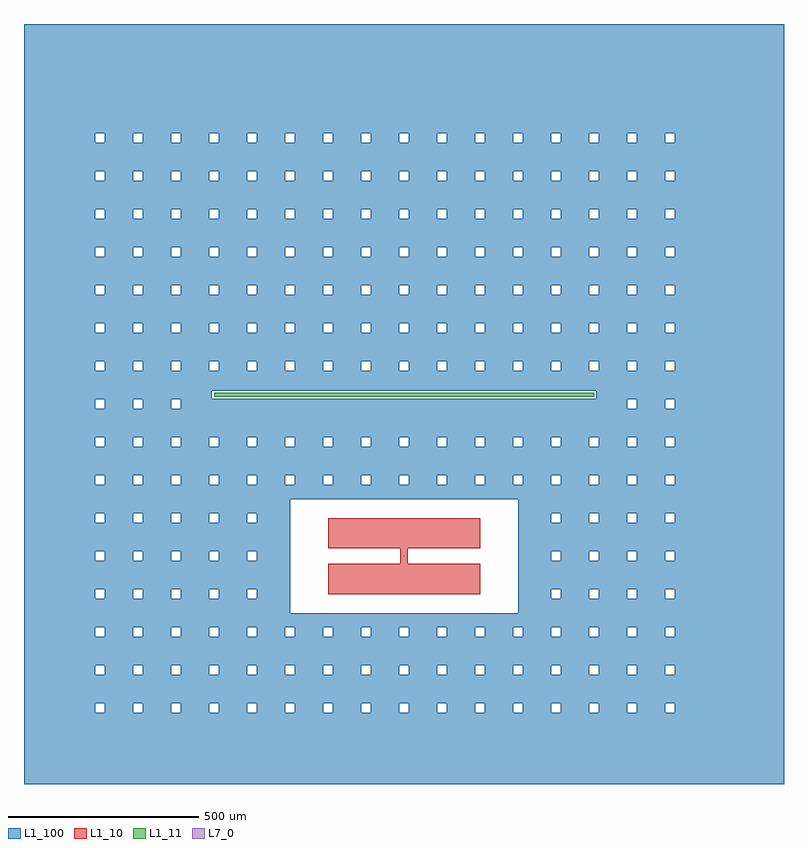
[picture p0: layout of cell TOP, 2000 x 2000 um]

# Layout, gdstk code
from math import pi, radians
import gdstk
lib = gdstk.Library(unit=1e-6, precision=1e-09)
def R(c, l, rs):  # rectangles x0, y0, x1, y1
    for r in rs: c.add(gdstk.rectangle(r[:2], r[2:], *l))
def P(c, l, *ps):  # polygons
    for p in ps: c.add(gdstk.Polygon(p, *l))
L1_10 = (1, 10)
L1_11 = (1, 11)
L1_100 = (1, 100)
L7_0 = (7, 0)

oq_jj = lib.new_cell('OQ_JJ')
P(oq_jj, L7_0, [(-2,-1),(2,-1),(2,1),(1,1),(1,0),(-2,0)])

pads_oq_jj_qcomponent_is = lib.new_cell('pads_OQ_JJ_QComponent_is_1_name_is_rect_jj')
R(pads_oq_jj_qcomponent_is, L1_10, [(-20,-10,3,10), (-3,-10,20,10)])

top_main_1_cheese_100 = lib.new_cell('TOP_main_1_Cheese_100')
R(top_main_1_cheese_100, L1_100, [(-1000,-1000,-875,1000), (750,-1000,875,1000), (875,-1000,1000,1000)])
P(top_main_1_cheese_100, L1_100, [(-750,1000),(-875,1000),(-875,687.5),(-812.5,687.5),(-812.5,712.5),(-787.5,712.5),(-787.5,687.5),(-812.5,687.5),(-875,687.5),(-875,587.5),(-812.5,587.5),(-812.5,612.5),(-787.5,612.5),(-787.5,587.5),(-812.5,587.5),(-875,587.5),(-875,487.5),(-812.5,487.5),(-812.5,512.5),(-787.5,512.5),(-787.5,487.5),(-812.5,487.5),(-875,487.5),(-875,387.5),(-812.5,387.5),(-812.5,412.5),(-787.5,412.5),(-787.5,387.5),(-812.5,387.5),(-875,387.5),(-875,287.5),(-812.5,287.5),(-812.5,312.5),(-787.5,312.5),(-787.5,287.5),(-812.5,287.5),(-875,287.5),(-875,187.5),(-812.5,187.5),(-812.5,212.5),(-787.5,212.5),(-787.5,187.5),(-812.5,187.5),(-875,187.5),(-875,87.5),(-812.5,87.5),(-812.5,112.5),(-787.5,112.5),(-787.5,87.5),(-812.5,87.5),(-875,87.5),(-875,-12.5),(-812.5,-12.5),(-812.5,12.5),(-787.5,12.5),(-787.5,-12.5),(-812.5,-12.5),(-875,-12.5),(-875,-112.5),(-812.5,-112.5),(-812.5,-87.5),(-787.5,-87.5),(-787.5,-112.5),(-812.5,-112.5),(-875,-112.5),(-875,-212.5),(-812.5,-212.5),(-812.5,-187.5),(-787.5,-187.5),(-787.5,-212.5),(-812.5,-212.5),(-875,-212.5),(-875,-312.5),(-812.5,-312.5),(-812.5,-287.5),(-787.5,-287.5),(-787.5,-312.5),(-812.5,-312.5),(-875,-312.5),(-875,-412.5),(-812.5,-412.5),(-812.5,-387.5),(-787.5,-387.5),(-787.5,-412.5),(-812.5,-412.5),(-875,-412.5),(-875,-512.5),(-812.5,-512.5),(-812.5,-487.5),(-787.5,-487.5),(-787.5,-512.5),(-812.5,-512.5),(-875,-512.5),(-875,-612.5),(-812.5,-612.5),(-812.5,-587.5),(-787.5,-587.5),(-787.5,-612.5),(-812.5,-612.5),(-875,-612.5),(-875,-712.5),(-812.5,-712.5),(-812.5,-687.5),(-787.5,-687.5),(-787.5,-712.5),(-812.5,-712.5),(-875,-712.5),(-875,-812.5),(-812.5,-812.5),(-812.5,-787.5),(-787.5,-787.5),(-787.5,-812.5),(-812.5,-812.5),(-875,-812.5),(-875,-1000),(-750,-1000)],
  [(-625,1000),(-750,1000),(-750,687.5),(-712.5,687.5),(-712.5,712.5),(-687.5,712.5),(-687.5,687.5),(-712.5,687.5),(-750,687.5),(-750,587.5),(-712.5,587.5),(-712.5,612.5),(-687.5,612.5),(-687.5,587.5),(-712.5,587.5),(-750,587.5),(-750,487.5),(-712.5,487.5),(-712.5,512.5),(-687.5,512.5),(-687.5,487.5),(-712.5,487.5),(-750,487.5),(-750,387.5),(-712.5,387.5),(-712.5,412.5),(-687.5,412.5),(-687.5,387.5),(-712.5,387.5),(-750,387.5),(-750,287.5),(-712.5,287.5),(-712.5,312.5),(-687.5,312.5),(-687.5,287.5),(-712.5,287.5),(-750,287.5),(-750,187.5),(-712.5,187.5),(-712.5,212.5),(-687.5,212.5),(-687.5,187.5),(-712.5,187.5),(-750,187.5),(-750,87.5),(-712.5,87.5),(-712.5,112.5),(-687.5,112.5),(-687.5,87.5),(-712.5,87.5),(-750,87.5),(-750,-12.5),(-712.5,-12.5),(-712.5,12.5),(-687.5,12.5),(-687.5,-12.5),(-712.5,-12.5),(-750,-12.5),(-750,-112.5),(-712.5,-112.5),(-712.5,-87.5),(-687.5,-87.5),(-687.5,-112.5),(-712.5,-112.5),(-750,-112.5),(-750,-212.5),(-712.5,-212.5),(-712.5,-187.5),(-687.5,-187.5),(-687.5,-212.5),(-712.5,-212.5),(-750,-212.5),(-750,-312.5),(-712.5,-312.5),(-712.5,-287.5),(-687.5,-287.5),(-687.5,-312.5),(-712.5,-312.5),(-750,-312.5),(-750,-412.5),(-712.5,-412.5),(-712.5,-387.5),(-687.5,-387.5),(-687.5,-412.5),(-712.5,-412.5),(-750,-412.5),(-750,-512.5),(-712.5,-512.5),(-712.5,-487.5),(-687.5,-487.5),(-687.5,-512.5),(-712.5,-512.5),(-750,-512.5),(-750,-612.5),(-712.5,-612.5),(-712.5,-587.5),(-687.5,-587.5),(-687.5,-612.5),(-712.5,-612.5),(-750,-612.5),(-750,-712.5),(-712.5,-712.5),(-712.5,-687.5),(-687.5,-687.5),(-687.5,-712.5),(-712.5,-712.5),(-750,-712.5),(-750,-812.5),(-712.5,-812.5),(-712.5,-787.5),(-687.5,-787.5),(-687.5,-812.5),(-712.5,-812.5),(-750,-812.5),(-750,-1000),(-625,-1000)],
  [(-500,-812.5),(-512.5,-812.5),(-512.5,-787.5),(-500,-787.5),(-500,-712.5),(-512.5,-712.5),(-512.5,-687.5),(-500,-687.5),(-500,-612.5),(-512.5,-612.5),(-512.5,-587.5),(-500,-587.5),(-500,-512.5),(-512.5,-512.5),(-512.5,-487.5),(-500,-487.5),(-500,-412.5),(-512.5,-412.5),(-512.5,-387.5),(-500,-387.5),(-500,-312.5),(-512.5,-312.5),(-512.5,-287.5),(-500,-287.5),(-500,-212.5),(-512.5,-212.5),(-512.5,-187.5),(-500,-187.5),(-500,-112.5),(-512.5,-112.5),(-512.5,-87.5),(-500,-87.5),(-500,13.5),(-506,13.5),(-506,35.5),(-500,35.5),(-500,87.5),(-512.5,87.5),(-512.5,112.5),(-500,112.5),(-500,187.5),(-512.5,187.5),(-512.5,212.5),(-500,212.5),(-500,287.5),(-512.5,287.5),(-512.5,312.5),(-500,312.5),(-500,387.5),(-512.5,387.5),(-512.5,412.5),(-500,412.5),(-500,487.5),(-512.5,487.5),(-512.5,512.5),(-500,512.5),(-500,587.5),(-512.5,587.5),(-512.5,612.5),(-500,612.5),(-500,687.5),(-512.5,687.5),(-512.5,712.5),(-500,712.5),(-500,1000),(-625,1000),(-625,687.5),(-612.5,687.5),(-612.5,712.5),(-587.5,712.5),(-587.5,687.5),(-612.5,687.5),(-625,687.5),(-625,587.5),(-612.5,587.5),(-612.5,612.5),(-587.5,612.5),(-587.5,587.5),(-612.5,587.5),(-625,587.5),(-625,487.5),(-612.5,487.5),(-612.5,512.5),(-587.5,512.5),(-587.5,487.5),(-612.5,487.5),(-625,487.5),(-625,387.5),(-612.5,387.5),(-612.5,412.5),(-587.5,412.5),(-587.5,387.5),(-612.5,387.5),(-625,387.5),(-625,287.5),(-612.5,287.5),(-612.5,312.5),(-587.5,312.5),(-587.5,287.5),(-612.5,287.5),(-625,287.5),(-625,187.5),(-612.5,187.5),(-612.5,212.5),(-587.5,212.5),(-587.5,187.5),(-612.5,187.5),(-625,187.5),(-625,87.5),(-612.5,87.5),(-612.5,112.5),(-587.5,112.5),(-587.5,87.5),(-612.5,87.5),(-625,87.5),(-625,-12.5),(-612.5,-12.5),(-612.5,12.5),(-587.5,12.5),(-587.5,-12.5),(-612.5,-12.5),(-625,-12.5),(-625,-112.5),(-612.5,-112.5),(-612.5,-87.5),(-587.5,-87.5),(-587.5,-112.5),(-612.5,-112.5),(-625,-112.5),(-625,-212.5),(-612.5,-212.5),(-612.5,-187.5),(-587.5,-187.5),(-587.5,-212.5),(-612.5,-212.5),(-625,-212.5),(-625,-312.5),(-612.5,-312.5),(-612.5,-287.5),(-587.5,-287.5),(-587.5,-312.5),(-612.5,-312.5),(-625,-312.5),(-625,-412.5),(-612.5,-412.5),(-612.5,-387.5),(-587.5,-387.5),(-587.5,-412.5),(-612.5,-412.5),(-625,-412.5),(-625,-512.5),(-612.5,-512.5),(-612.5,-487.5),(-587.5,-487.5),(-587.5,-512.5),(-612.5,-512.5),(-625,-512.5),(-625,-612.5),(-612.5,-612.5),(-612.5,-587.5),(-587.5,-587.5),(-587.5,-612.5),(-612.5,-612.5),(-625,-612.5),(-625,-712.5),(-612.5,-712.5),(-612.5,-687.5),(-587.5,-687.5),(-587.5,-712.5),(-612.5,-712.5),(-625,-712.5),(-625,-812.5),(-612.5,-812.5),(-612.5,-787.5),(-587.5,-787.5),(-587.5,-812.5),(-612.5,-812.5),(-625,-812.5),(-625,-1000),(-500,-1000)],
  [(-375,1000),(-500,1000),(-500,712.5),(-487.5,712.5),(-487.5,687.5),(-412.5,687.5),(-412.5,712.5),(-387.5,712.5),(-387.5,687.5),(-412.5,687.5),(-487.5,687.5),(-500,687.5),(-500,612.5),(-487.5,612.5),(-487.5,587.5),(-412.5,587.5),(-412.5,612.5),(-387.5,612.5),(-387.5,587.5),(-412.5,587.5),(-487.5,587.5),(-500,587.5),(-500,512.5),(-487.5,512.5),(-487.5,487.5),(-412.5,487.5),(-412.5,512.5),(-387.5,512.5),(-387.5,487.5),(-412.5,487.5),(-487.5,487.5),(-500,487.5),(-500,412.5),(-487.5,412.5),(-487.5,387.5),(-412.5,387.5),(-412.5,412.5),(-387.5,412.5),(-387.5,387.5),(-412.5,387.5),(-487.5,387.5),(-500,387.5),(-500,312.5),(-487.5,312.5),(-487.5,287.5),(-412.5,287.5),(-412.5,312.5),(-387.5,312.5),(-387.5,287.5),(-412.5,287.5),(-487.5,287.5),(-500,287.5),(-500,212.5),(-487.5,212.5),(-487.5,187.5),(-412.5,187.5),(-412.5,212.5),(-387.5,212.5),(-387.5,187.5),(-412.5,187.5),(-487.5,187.5),(-500,187.5),(-500,112.5),(-487.5,112.5),(-487.5,87.5),(-412.5,87.5),(-412.5,112.5),(-387.5,112.5),(-387.5,87.5),(-412.5,87.5),(-487.5,87.5),(-500,87.5),(-500,35.5),(-375,35.5)],
  [(-375,13.5),(-500,13.5),(-500,-87.5),(-487.5,-87.5),(-487.5,-112.5),(-412.5,-112.5),(-412.5,-87.5),(-387.5,-87.5),(-387.5,-112.5),(-412.5,-112.5),(-487.5,-112.5),(-500,-112.5),(-500,-187.5),(-487.5,-187.5),(-487.5,-212.5),(-412.5,-212.5),(-412.5,-187.5),(-387.5,-187.5),(-387.5,-212.5),(-412.5,-212.5),(-487.5,-212.5),(-500,-212.5),(-500,-287.5),(-487.5,-287.5),(-487.5,-312.5),(-412.5,-312.5),(-412.5,-287.5),(-387.5,-287.5),(-387.5,-312.5),(-412.5,-312.5),(-487.5,-312.5),(-500,-312.5),(-500,-387.5),(-487.5,-387.5),(-487.5,-412.5),(-412.5,-412.5),(-412.5,-387.5),(-387.5,-387.5),(-387.5,-412.5),(-412.5,-412.5),(-487.5,-412.5),(-500,-412.5),(-500,-487.5),(-487.5,-487.5),(-487.5,-512.5),(-412.5,-512.5),(-412.5,-487.5),(-387.5,-487.5),(-387.5,-512.5),(-412.5,-512.5),(-487.5,-512.5),(-500,-512.5),(-500,-587.5),(-487.5,-587.5),(-487.5,-612.5),(-412.5,-612.5),(-412.5,-587.5),(-387.5,-587.5),(-387.5,-612.5),(-412.5,-612.5),(-487.5,-612.5),(-500,-612.5),(-500,-687.5),(-487.5,-687.5),(-487.5,-712.5),(-412.5,-712.5),(-412.5,-687.5),(-387.5,-687.5),(-387.5,-712.5),(-412.5,-712.5),(-487.5,-712.5),(-500,-712.5),(-500,-787.5),(-487.5,-787.5),(-487.5,-812.5),(-412.5,-812.5),(-412.5,-787.5),(-387.5,-787.5),(-387.5,-812.5),(-412.5,-812.5),(-487.5,-812.5),(-500,-812.5),(-500,-1000),(-375,-1000)],
  [(-250,1000),(-375,1000),(-375,687.5),(-312.5,687.5),(-312.5,712.5),(-287.5,712.5),(-287.5,687.5),(-312.5,687.5),(-375,687.5),(-375,587.5),(-312.5,587.5),(-312.5,612.5),(-287.5,612.5),(-287.5,587.5),(-312.5,587.5),(-375,587.5),(-375,487.5),(-312.5,487.5),(-312.5,512.5),(-287.5,512.5),(-287.5,487.5),(-312.5,487.5),(-375,487.5),(-375,387.5),(-312.5,387.5),(-312.5,412.5),(-287.5,412.5),(-287.5,387.5),(-312.5,387.5),(-375,387.5),(-375,287.5),(-312.5,287.5),(-312.5,312.5),(-287.5,312.5),(-287.5,287.5),(-312.5,287.5),(-375,287.5),(-375,187.5),(-312.5,187.5),(-312.5,212.5),(-287.5,212.5),(-287.5,187.5),(-312.5,187.5),(-375,187.5),(-375,87.5),(-312.5,87.5),(-312.5,112.5),(-287.5,112.5),(-287.5,87.5),(-312.5,87.5),(-375,87.5),(-375,35.5),(-250,35.5)],
  [(-250,-550),(-300,-550),(-300,-250),(-250,-250),(-250,13.5),(-375,13.5),(-375,-112.5),(-312.5,-112.5),(-312.5,-87.5),(-287.5,-87.5),(-287.5,-112.5),(-312.5,-112.5),(-375,-112.5),(-375,-212.5),(-312.5,-212.5),(-312.5,-187.5),(-287.5,-187.5),(-287.5,-212.5),(-312.5,-212.5),(-375,-212.5),(-375,-612.5),(-312.5,-612.5),(-312.5,-587.5),(-287.5,-587.5),(-287.5,-612.5),(-312.5,-612.5),(-375,-612.5),(-375,-712.5),(-312.5,-712.5),(-312.5,-687.5),(-287.5,-687.5),(-287.5,-712.5),(-312.5,-712.5),(-375,-712.5),(-375,-812.5),(-312.5,-812.5),(-312.5,-787.5),(-287.5,-787.5),(-287.5,-812.5),(-312.5,-812.5),(-375,-812.5),(-375,-1000),(-250,-1000)],
  [(-125,1000),(-250,1000),(-250,687.5),(-212.5,687.5),(-212.5,712.5),(-187.5,712.5),(-187.5,687.5),(-212.5,687.5),(-250,687.5),(-250,587.5),(-212.5,587.5),(-212.5,612.5),(-187.5,612.5),(-187.5,587.5),(-212.5,587.5),(-250,587.5),(-250,487.5),(-212.5,487.5),(-212.5,512.5),(-187.5,512.5),(-187.5,487.5),(-212.5,487.5),(-250,487.5),(-250,387.5),(-212.5,387.5),(-212.5,412.5),(-187.5,412.5),(-187.5,387.5),(-212.5,387.5),(-250,387.5),(-250,287.5),(-212.5,287.5),(-212.5,312.5),(-187.5,312.5),(-187.5,287.5),(-212.5,287.5),(-250,287.5),(-250,187.5),(-212.5,187.5),(-212.5,212.5),(-187.5,212.5),(-187.5,187.5),(-212.5,187.5),(-250,187.5),(-250,87.5),(-212.5,87.5),(-212.5,112.5),(-187.5,112.5),(-187.5,87.5),(-212.5,87.5),(-250,87.5),(-250,35.5),(-125,35.5)],
  [(-125,13.5),(-250,13.5),(-250,-112.5),(-212.5,-112.5),(-212.5,-87.5),(-187.5,-87.5),(-187.5,-112.5),(-212.5,-112.5),(-250,-112.5),(-250,-212.5),(-212.5,-212.5),(-212.5,-187.5),(-187.5,-187.5),(-187.5,-212.5),(-212.5,-212.5),(-250,-212.5),(-250,-250),(-125,-250)],
  [(-125,-550),(-250,-550),(-250,-612.5),(-212.5,-612.5),(-212.5,-587.5),(-187.5,-587.5),(-187.5,-612.5),(-212.5,-612.5),(-250,-612.5),(-250,-712.5),(-212.5,-712.5),(-212.5,-687.5),(-187.5,-687.5),(-187.5,-712.5),(-212.5,-712.5),(-250,-712.5),(-250,-812.5),(-212.5,-812.5),(-212.5,-787.5),(-187.5,-787.5),(-187.5,-812.5),(-212.5,-812.5),(-250,-812.5),(-250,-1000),(-125,-1000)],
  [(0,87.5),(-12.5,87.5),(-12.5,112.5),(0,112.5),(0,187.5),(-12.5,187.5),(-12.5,212.5),(0,212.5),(0,287.5),(-12.5,287.5),(-12.5,312.5),(0,312.5),(0,387.5),(-12.5,387.5),(-12.5,412.5),(0,412.5),(0,487.5),(-12.5,487.5),(-12.5,512.5),(0,512.5),(0,587.5),(-12.5,587.5),(-12.5,612.5),(0,612.5),(0,687.5),(-12.5,687.5),(-12.5,712.5),(0,712.5),(0,1000),(-125,1000),(-125,687.5),(-112.5,687.5),(-112.5,712.5),(-87.5,712.5),(-87.5,687.5),(-112.5,687.5),(-125,687.5),(-125,587.5),(-112.5,587.5),(-112.5,612.5),(-87.5,612.5),(-87.5,587.5),(-112.5,587.5),(-125,587.5),(-125,487.5),(-112.5,487.5),(-112.5,512.5),(-87.5,512.5),(-87.5,487.5),(-112.5,487.5),(-125,487.5),(-125,387.5),(-112.5,387.5),(-112.5,412.5),(-87.5,412.5),(-87.5,387.5),(-112.5,387.5),(-125,387.5),(-125,287.5),(-112.5,287.5),(-112.5,312.5),(-87.5,312.5),(-87.5,287.5),(-112.5,287.5),(-125,287.5),(-125,187.5),(-112.5,187.5),(-112.5,212.5),(-87.5,212.5),(-87.5,187.5),(-112.5,187.5),(-125,187.5),(-125,87.5),(-112.5,87.5),(-112.5,112.5),(-87.5,112.5),(-87.5,87.5),(-112.5,87.5),(-125,87.5),(-125,35.5),(0,35.5)],
  [(0,-212.5),(-12.5,-212.5),(-12.5,-187.5),(0,-187.5),(0,-112.5),(-12.5,-112.5),(-12.5,-87.5),(0,-87.5),(0,13.5),(-125,13.5),(-125,-112.5),(-112.5,-112.5),(-112.5,-87.5),(-87.5,-87.5),(-87.5,-112.5),(-112.5,-112.5),(-125,-112.5),(-125,-212.5),(-112.5,-212.5),(-112.5,-187.5),(-87.5,-187.5),(-87.5,-212.5),(-112.5,-212.5),(-125,-212.5),(-125,-250),(0,-250)],
  [(0,-812.5),(-12.5,-812.5),(-12.5,-787.5),(0,-787.5),(0,-712.5),(-12.5,-712.5),(-12.5,-687.5),(0,-687.5),(0,-612.5),(-12.5,-612.5),(-12.5,-587.5),(0,-587.5),(0,-550),(-125,-550),(-125,-612.5),(-112.5,-612.5),(-112.5,-587.5),(-87.5,-587.5),(-87.5,-612.5),(-112.5,-612.5),(-125,-612.5),(-125,-712.5),(-112.5,-712.5),(-112.5,-687.5),(-87.5,-687.5),(-87.5,-712.5),(-112.5,-712.5),(-125,-712.5),(-125,-812.5),(-112.5,-812.5),(-112.5,-787.5),(-87.5,-787.5),(-87.5,-812.5),(-112.5,-812.5),(-125,-812.5),(-125,-1000),(0,-1000)],
  [(125,1000),(0,1000),(0,712.5),(12.5,712.5),(12.5,687.5),(87.5,687.5),(87.5,712.5),(112.5,712.5),(112.5,687.5),(87.5,687.5),(12.5,687.5),(0,687.5),(0,612.5),(12.5,612.5),(12.5,587.5),(87.5,587.5),(87.5,612.5),(112.5,612.5),(112.5,587.5),(87.5,587.5),(12.5,587.5),(0,587.5),(0,512.5),(12.5,512.5),(12.5,487.5),(87.5,487.5),(87.5,512.5),(112.5,512.5),(112.5,487.5),(87.5,487.5),(12.5,487.5),(0,487.5),(0,412.5),(12.5,412.5),(12.5,387.5),(87.5,387.5),(87.5,412.5),(112.5,412.5),(112.5,387.5),(87.5,387.5),(12.5,387.5),(0,387.5),(0,312.5),(12.5,312.5),(12.5,287.5),(87.5,287.5),(87.5,312.5),(112.5,312.5),(112.5,287.5),(87.5,287.5),(12.5,287.5),(0,287.5),(0,212.5),(12.5,212.5),(12.5,187.5),(87.5,187.5),(87.5,212.5),(112.5,212.5),(112.5,187.5),(87.5,187.5),(12.5,187.5),(0,187.5),(0,112.5),(12.5,112.5),(12.5,87.5),(87.5,87.5),(87.5,112.5),(112.5,112.5),(112.5,87.5),(87.5,87.5),(12.5,87.5),(0,87.5),(0,35.5),(125,35.5)],
  [(125,13.5),(0,13.5),(0,-87.5),(12.5,-87.5),(12.5,-112.5),(87.5,-112.5),(87.5,-87.5),(112.5,-87.5),(112.5,-112.5),(87.5,-112.5),(12.5,-112.5),(0,-112.5),(0,-187.5),(12.5,-187.5),(12.5,-212.5),(87.5,-212.5),(87.5,-187.5),(112.5,-187.5),(112.5,-212.5),(87.5,-212.5),(12.5,-212.5),(0,-212.5),(0,-250),(125,-250)],
  [(125,-550),(0,-550),(0,-587.5),(12.5,-587.5),(12.5,-612.5),(87.5,-612.5),(87.5,-587.5),(112.5,-587.5),(112.5,-612.5),(87.5,-612.5),(12.5,-612.5),(0,-612.5),(0,-687.5),(12.5,-687.5),(12.5,-712.5),(87.5,-712.5),(87.5,-687.5),(112.5,-687.5),(112.5,-712.5),(87.5,-712.5),(12.5,-712.5),(0,-712.5),(0,-787.5),(12.5,-787.5),(12.5,-812.5),(87.5,-812.5),(87.5,-787.5),(112.5,-787.5),(112.5,-812.5),(87.5,-812.5),(12.5,-812.5),(0,-812.5),(0,-1000),(125,-1000)],
  [(250,1000),(125,1000),(125,687.5),(187.5,687.5),(187.5,712.5),(212.5,712.5),(212.5,687.5),(187.5,687.5),(125,687.5),(125,587.5),(187.5,587.5),(187.5,612.5),(212.5,612.5),(212.5,587.5),(187.5,587.5),(125,587.5),(125,487.5),(187.5,487.5),(187.5,512.5),(212.5,512.5),(212.5,487.5),(187.5,487.5),(125,487.5),(125,387.5),(187.5,387.5),(187.5,412.5),(212.5,412.5),(212.5,387.5),(187.5,387.5),(125,387.5),(125,287.5),(187.5,287.5),(187.5,312.5),(212.5,312.5),(212.5,287.5),(187.5,287.5),(125,287.5),(125,187.5),(187.5,187.5),(187.5,212.5),(212.5,212.5),(212.5,187.5),(187.5,187.5),(125,187.5),(125,87.5),(187.5,87.5),(187.5,112.5),(212.5,112.5),(212.5,87.5),(187.5,87.5),(125,87.5),(125,35.5),(250,35.5)],
  [(250,13.5),(125,13.5),(125,-112.5),(187.5,-112.5),(187.5,-87.5),(212.5,-87.5),(212.5,-112.5),(187.5,-112.5),(125,-112.5),(125,-212.5),(187.5,-212.5),(187.5,-187.5),(212.5,-187.5),(212.5,-212.5),(187.5,-212.5),(125,-212.5),(125,-250),(250,-250)],
  [(250,-550),(125,-550),(125,-612.5),(187.5,-612.5),(187.5,-587.5),(212.5,-587.5),(212.5,-612.5),(187.5,-612.5),(125,-612.5),(125,-712.5),(187.5,-712.5),(187.5,-687.5),(212.5,-687.5),(212.5,-712.5),(187.5,-712.5),(125,-712.5),(125,-812.5),(187.5,-812.5),(187.5,-787.5),(212.5,-787.5),(212.5,-812.5),(187.5,-812.5),(125,-812.5),(125,-1000),(250,-1000)],
  [(375,1000),(250,1000),(250,687.5),(287.5,687.5),(287.5,712.5),(312.5,712.5),(312.5,687.5),(287.5,687.5),(250,687.5),(250,587.5),(287.5,587.5),(287.5,612.5),(312.5,612.5),(312.5,587.5),(287.5,587.5),(250,587.5),(250,487.5),(287.5,487.5),(287.5,512.5),(312.5,512.5),(312.5,487.5),(287.5,487.5),(250,487.5),(250,387.5),(287.5,387.5),(287.5,412.5),(312.5,412.5),(312.5,387.5),(287.5,387.5),(250,387.5),(250,287.5),(287.5,287.5),(287.5,312.5),(312.5,312.5),(312.5,287.5),(287.5,287.5),(250,287.5),(250,187.5),(287.5,187.5),(287.5,212.5),(312.5,212.5),(312.5,187.5),(287.5,187.5),(250,187.5),(250,87.5),(287.5,87.5),(287.5,112.5),(312.5,112.5),(312.5,87.5),(287.5,87.5),(250,87.5),(250,35.5),(375,35.5)],
  [(375,13.5),(250,13.5),(250,-112.5),(287.5,-112.5),(287.5,-87.5),(312.5,-87.5),(312.5,-112.5),(287.5,-112.5),(250,-112.5),(250,-212.5),(287.5,-212.5),(287.5,-187.5),(312.5,-187.5),(312.5,-212.5),(287.5,-212.5),(250,-212.5),(250,-250),(300,-250),(300,-550),(250,-550),(250,-612.5),(287.5,-612.5),(287.5,-587.5),(312.5,-587.5),(312.5,-612.5),(287.5,-612.5),(250,-612.5),(250,-712.5),(287.5,-712.5),(287.5,-687.5),(312.5,-687.5),(312.5,-712.5),(287.5,-712.5),(250,-712.5),(250,-812.5),(287.5,-812.5),(287.5,-787.5),(312.5,-787.5),(312.5,-812.5),(287.5,-812.5),(250,-812.5),(250,-1000),(375,-1000)],
  [(500,87.5),(487.5,87.5),(487.5,112.5),(500,112.5),(500,187.5),(487.5,187.5),(487.5,212.5),(500,212.5),(500,287.5),(487.5,287.5),(487.5,312.5),(500,312.5),(500,387.5),(487.5,387.5),(487.5,412.5),(500,412.5),(500,487.5),(487.5,487.5),(487.5,512.5),(500,512.5),(500,587.5),(487.5,587.5),(487.5,612.5),(500,612.5),(500,687.5),(487.5,687.5),(487.5,712.5),(500,712.5),(500,1000),(375,1000),(375,687.5),(387.5,687.5),(387.5,712.5),(412.5,712.5),(412.5,687.5),(387.5,687.5),(375,687.5),(375,587.5),(387.5,587.5),(387.5,612.5),(412.5,612.5),(412.5,587.5),(387.5,587.5),(375,587.5),(375,487.5),(387.5,487.5),(387.5,512.5),(412.5,512.5),(412.5,487.5),(387.5,487.5),(375,487.5),(375,387.5),(387.5,387.5),(387.5,412.5),(412.5,412.5),(412.5,387.5),(387.5,387.5),(375,387.5),(375,287.5),(387.5,287.5),(387.5,312.5),(412.5,312.5),(412.5,287.5),(387.5,287.5),(375,287.5),(375,187.5),(387.5,187.5),(387.5,212.5),(412.5,212.5),(412.5,187.5),(387.5,187.5),(375,187.5),(375,87.5),(387.5,87.5),(387.5,112.5),(412.5,112.5),(412.5,87.5),(387.5,87.5),(375,87.5),(375,35.5),(500,35.5)],
  [(500,-812.5),(487.5,-812.5),(487.5,-787.5),(500,-787.5),(500,-712.5),(487.5,-712.5),(487.5,-687.5),(500,-687.5),(500,-612.5),(487.5,-612.5),(487.5,-587.5),(500,-587.5),(500,-512.5),(487.5,-512.5),(487.5,-487.5),(500,-487.5),(500,-412.5),(487.5,-412.5),(487.5,-387.5),(500,-387.5),(500,-312.5),(487.5,-312.5),(487.5,-287.5),(500,-287.5),(500,-212.5),(487.5,-212.5),(487.5,-187.5),(500,-187.5),(500,-112.5),(487.5,-112.5),(487.5,-87.5),(500,-87.5),(500,13.5),(375,13.5),(375,-112.5),(387.5,-112.5),(387.5,-87.5),(412.5,-87.5),(412.5,-112.5),(387.5,-112.5),(375,-112.5),(375,-212.5),(387.5,-212.5),(387.5,-187.5),(412.5,-187.5),(412.5,-212.5),(387.5,-212.5),(375,-212.5),(375,-312.5),(387.5,-312.5),(387.5,-287.5),(412.5,-287.5),(412.5,-312.5),(387.5,-312.5),(375,-312.5),(375,-412.5),(387.5,-412.5),(387.5,-387.5),(412.5,-387.5),(412.5,-412.5),(387.5,-412.5),(375,-412.5),(375,-512.5),(387.5,-512.5),(387.5,-487.5),(412.5,-487.5),(412.5,-512.5),(387.5,-512.5),(375,-512.5),(375,-612.5),(387.5,-612.5),(387.5,-587.5),(412.5,-587.5),(412.5,-612.5),(387.5,-612.5),(375,-612.5),(375,-712.5),(387.5,-712.5),(387.5,-687.5),(412.5,-687.5),(412.5,-712.5),(387.5,-712.5),(375,-712.5),(375,-812.5),(387.5,-812.5),(387.5,-787.5),(412.5,-787.5),(412.5,-812.5),(387.5,-812.5),(375,-812.5),(375,-1000),(500,-1000)],
  [(625,1000),(500,1000),(500,712.5),(512.5,712.5),(512.5,687.5),(587.5,687.5),(587.5,712.5),(612.5,712.5),(612.5,687.5),(587.5,687.5),(512.5,687.5),(500,687.5),(500,612.5),(512.5,612.5),(512.5,587.5),(587.5,587.5),(587.5,612.5),(612.5,612.5),(612.5,587.5),(587.5,587.5),(512.5,587.5),(500,587.5),(500,512.5),(512.5,512.5),(512.5,487.5),(587.5,487.5),(587.5,512.5),(612.5,512.5),(612.5,487.5),(587.5,487.5),(512.5,487.5),(500,487.5),(500,412.5),(512.5,412.5),(512.5,387.5),(587.5,387.5),(587.5,412.5),(612.5,412.5),(612.5,387.5),(587.5,387.5),(512.5,387.5),(500,387.5),(500,312.5),(512.5,312.5),(512.5,287.5),(587.5,287.5),(587.5,312.5),(612.5,312.5),(612.5,287.5),(587.5,287.5),(512.5,287.5),(500,287.5),(500,212.5),(512.5,212.5),(512.5,187.5),(587.5,187.5),(587.5,212.5),(612.5,212.5),(612.5,187.5),(587.5,187.5),(512.5,187.5),(500,187.5),(500,112.5),(512.5,112.5),(512.5,87.5),(587.5,87.5),(587.5,112.5),(612.5,112.5),(612.5,87.5),(587.5,87.5),(512.5,87.5),(500,87.5),(500,35.5),(506,35.5),(506,13.5),(500,13.5),(500,-12.5),(587.5,-12.5),(587.5,12.5),(612.5,12.5),(612.5,-12.5),(587.5,-12.5),(500,-12.5),(500,-87.5),(512.5,-87.5),(512.5,-112.5),(587.5,-112.5),(587.5,-87.5),(612.5,-87.5),(612.5,-112.5),(587.5,-112.5),(512.5,-112.5),(500,-112.5),(500,-187.5),(512.5,-187.5),(512.5,-212.5),(587.5,-212.5),(587.5,-187.5),(612.5,-187.5),(612.5,-212.5),(587.5,-212.5),(512.5,-212.5),(500,-212.5),(500,-287.5),(512.5,-287.5),(512.5,-312.5),(587.5,-312.5),(587.5,-287.5),(612.5,-287.5),(612.5,-312.5),(587.5,-312.5),(512.5,-312.5),(500,-312.5),(500,-387.5),(512.5,-387.5),(512.5,-412.5),(587.5,-412.5),(587.5,-387.5),(612.5,-387.5),(612.5,-412.5),(587.5,-412.5),(512.5,-412.5),(500,-412.5),(500,-487.5),(512.5,-487.5),(512.5,-512.5),(587.5,-512.5),(587.5,-487.5),(612.5,-487.5),(612.5,-512.5),(587.5,-512.5),(512.5,-512.5),(500,-512.5),(500,-587.5),(512.5,-587.5),(512.5,-612.5),(587.5,-612.5),(587.5,-587.5),(612.5,-587.5),(612.5,-612.5),(587.5,-612.5),(512.5,-612.5),(500,-612.5),(500,-687.5),(512.5,-687.5),(512.5,-712.5),(587.5,-712.5),(587.5,-687.5),(612.5,-687.5),(612.5,-712.5),(587.5,-712.5),(512.5,-712.5),(500,-712.5),(500,-787.5),(512.5,-787.5),(512.5,-812.5),(587.5,-812.5),(587.5,-787.5),(612.5,-787.5),(612.5,-812.5),(587.5,-812.5),(512.5,-812.5),(500,-812.5),(500,-1000),(625,-1000)],
  [(750,1000),(625,1000),(625,687.5),(687.5,687.5),(687.5,712.5),(712.5,712.5),(712.5,687.5),(687.5,687.5),(625,687.5),(625,587.5),(687.5,587.5),(687.5,612.5),(712.5,612.5),(712.5,587.5),(687.5,587.5),(625,587.5),(625,487.5),(687.5,487.5),(687.5,512.5),(712.5,512.5),(712.5,487.5),(687.5,487.5),(625,487.5),(625,387.5),(687.5,387.5),(687.5,412.5),(712.5,412.5),(712.5,387.5),(687.5,387.5),(625,387.5),(625,287.5),(687.5,287.5),(687.5,312.5),(712.5,312.5),(712.5,287.5),(687.5,287.5),(625,287.5),(625,187.5),(687.5,187.5),(687.5,212.5),(712.5,212.5),(712.5,187.5),(687.5,187.5),(625,187.5),(625,87.5),(687.5,87.5),(687.5,112.5),(712.5,112.5),(712.5,87.5),(687.5,87.5),(625,87.5),(625,-12.5),(687.5,-12.5),(687.5,12.5),(712.5,12.5),(712.5,-12.5),(687.5,-12.5),(625,-12.5),(625,-112.5),(687.5,-112.5),(687.5,-87.5),(712.5,-87.5),(712.5,-112.5),(687.5,-112.5),(625,-112.5),(625,-212.5),(687.5,-212.5),(687.5,-187.5),(712.5,-187.5),(712.5,-212.5),(687.5,-212.5),(625,-212.5),(625,-312.5),(687.5,-312.5),(687.5,-287.5),(712.5,-287.5),(712.5,-312.5),(687.5,-312.5),(625,-312.5),(625,-412.5),(687.5,-412.5),(687.5,-387.5),(712.5,-387.5),(712.5,-412.5),(687.5,-412.5),(625,-412.5),(625,-512.5),(687.5,-512.5),(687.5,-487.5),(712.5,-487.5),(712.5,-512.5),(687.5,-512.5),(625,-512.5),(625,-612.5),(687.5,-612.5),(687.5,-587.5),(712.5,-587.5),(712.5,-612.5),(687.5,-612.5),(625,-612.5),(625,-712.5),(687.5,-712.5),(687.5,-687.5),(712.5,-687.5),(712.5,-712.5),(687.5,-712.5),(625,-712.5),(625,-812.5),(687.5,-812.5),(687.5,-787.5),(712.5,-787.5),(712.5,-812.5),(687.5,-812.5),(625,-812.5),(625,-1000),(750,-1000)])

top_main_1 = lib.new_cell('TOP_main_1')
P(top_main_1, L1_10, [(-200,-380),(200,-380),(200,-300),(-200,-300),(-200,-380)],
  [(-200,-500),(200,-500),(200,-420),(-200,-420),(-200,-500)])
R(top_main_1, L1_11, [(-500,19.5,500,29.5)])
top_main_1.add(gdstk.Reference(oq_jj, (0,-400), rotation=pi/2))
top_main_1.add(gdstk.Reference(pads_oq_jj_qcomponent_is, (0,-400), rotation=pi/2))
top_main_1.add(gdstk.Reference(top_main_1_cheese_100, (0,0)))

top_main = lib.new_cell('TOP_main')
top_main.add(gdstk.Reference(top_main_1, (0,0)))

single_design = lib.new_cell('SINGLE_DESIGN')
single_design.add(gdstk.Reference(top_main, (0,0)))

top = lib.new_cell('TOP')
top.add(gdstk.Reference(single_design, (0,0)))
top.add(gdstk.Reference(single_design, (0,0)))

lib.write_gds('TOP.gds')
